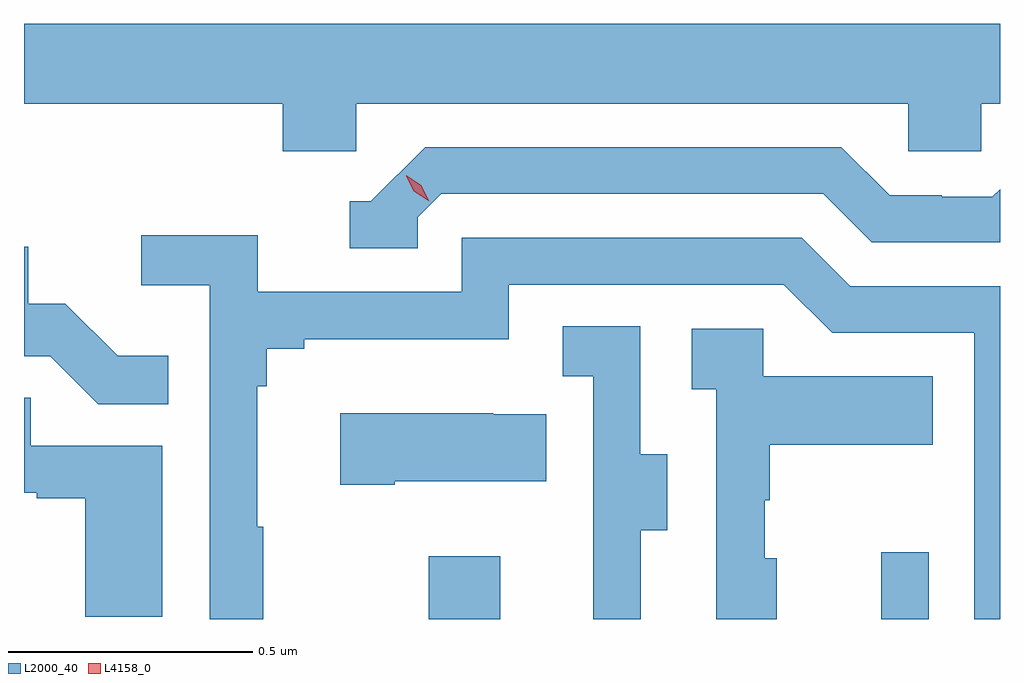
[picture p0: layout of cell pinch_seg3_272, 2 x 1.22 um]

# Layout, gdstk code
import gdstk
lib = gdstk.Library(unit=1e-6, precision=1e-09)
def R(c, l, rs):  # rectangles x0, y0, x1, y1
    for r in rs: c.add(gdstk.rectangle(r[:2], r[2:], *l))
def P(c, l, *ps):  # polygons
    for p in ps: c.add(gdstk.Polygon(p, *l))
L2000_40 = (2000, 40)
L4158_0 = (4158, 0)

pinch_seg3_272 = lib.new_cell('pinch_seg3_272')
R(pinch_seg3_272, L2000_40, [(912.412,713.179,912.559,713.308), (913.34,713.179,913.437,713.317)])
P(pinch_seg3_272, L2000_40, [(912.264,714.236),(913.395,714.236),(913.395,714.138),(913.545,714.138),(913.545,714.236),(913.583,714.236),(913.583,714.4),(911.583,714.4),(911.583,714.236),(912.113,714.236),(912.113,714.138),(912.264,714.138)],
  [(912.39,714.003),(912.438,714.051),(913.221,714.051),(913.32,713.952),(913.583,713.952),(913.583,714.061),(913.567,714.045),(913.464,714.045),(913.464,714.048),(913.357,714.048),(913.258,714.147),(912.405,714.147),(912.294,714.036),(912.251,714.036),(912.251,713.94),(912.39,713.94)],
  [(912.073,713.369),(912.061,713.369),(912.061,713.657),(912.08,713.657),(912.08,713.734),(912.157,713.734),(912.157,713.753),(912.576,713.753),(912.576,713.865),(913.14,713.865),(913.239,713.766),(913.53,713.766),(913.53,713.179),(913.583,713.179),(913.583,713.862),(913.276,713.862),(913.177,713.961),(912.48,713.961),(912.48,713.85),(912.062,713.85),(912.062,713.966),(911.823,713.966),(911.823,713.864),(911.964,713.864),(911.964,713.179),(912.073,713.179)],
  [(911.879,713.719),(911.775,713.719),(911.668,713.826),(911.592,713.826),(911.592,713.943),(911.583,713.943),(911.583,713.718),(911.637,713.718),(911.735,713.62),(911.879,713.62)],
  [(912.847,713.362),(912.901,713.362),(912.901,713.517),(912.846,713.517),(912.846,713.78),(912.687,713.78),(912.687,713.677),(912.75,713.677),(912.75,713.373),(912.749,713.373),(912.749,713.179),(912.847,713.179)],
  [(913.126,713.304),(913.101,713.304),(913.101,713.423),(913.111,713.423),(913.111,713.537),(913.445,713.537),(913.445,713.677),(913.098,713.677),(913.098,713.775),(912.951,713.775),(912.951,713.651),(913.002,713.651),(913.002,713.179),(913.126,713.179)],
  [(911.866,713.535),(911.597,713.535),(911.597,713.633),(911.583,713.633),(911.583,713.439),(911.609,713.439),(911.609,713.427),(911.708,713.427),(911.708,713.184),(911.866,713.184)],
  [(912.343,713.462),(912.653,713.462),(912.653,713.599),(912.545,713.599),(912.545,713.602),(912.231,713.602),(912.231,713.455),(912.343,713.455)])
P(pinch_seg3_272, L4158_0, [(912.413,714.036),(912.382,714.056),(912.366,714.088),(912.366,714.089),(912.366,714.089),(912.397,714.069),(912.413,714.036),(912.413,714.036)])

lib.write_gds('pinch_seg3_272.gds')
